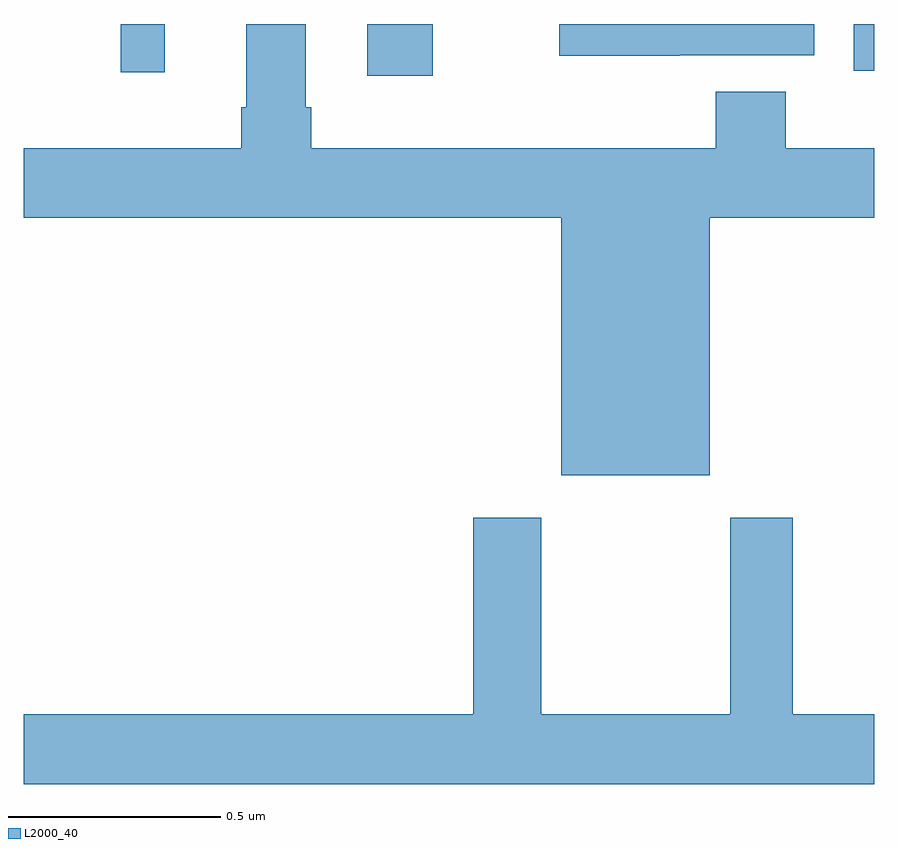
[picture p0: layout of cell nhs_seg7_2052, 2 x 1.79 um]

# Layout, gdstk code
import gdstk
lib = gdstk.Library(unit=1e-6, precision=1e-09)
def R(c, l, rs):  # rectangles x0, y0, x1, y1
    for r in rs: c.add(gdstk.rectangle(r[:2], r[2:], *l))
def P(c, l, *ps):  # polygons
    for p in ps: c.add(gdstk.Polygon(p, *l))
L2000_40 = (2000, 40)

nhs_seg7_2052 = lib.new_cell('nhs_seg7_2052')
R(nhs_seg7_2052, L2000_40, [(139.808,1072.878,139.962,1073), (139.228,1072.887,139.331,1073), (140.952,1072.89,141,1073)])
P(nhs_seg7_2052, L2000_40, [(140.614,1072.544),(141,1072.544),(141,1072.708),(140.792,1072.708),(140.792,1072.841),(140.627,1072.841),(140.627,1072.708),(139.676,1072.708),(139.676,1072.804),(139.663,1072.804),(139.663,1073),(139.523,1073),(139.523,1072.804),(139.511,1072.804),(139.511,1072.708),(139,1072.708),(139,1072.544),(140.264,1072.544),(140.264,1071.938),(140.614,1071.938)],
  [(140.543,1072.926),(140.859,1072.926),(140.859,1073),(140.259,1073),(140.259,1072.925),(140.543,1072.925)],
  [(141,1071.376),(140.809,1071.376),(140.809,1071.838),(140.662,1071.838),(140.662,1071.376),(140.217,1071.376),(140.217,1071.838),(140.057,1071.838),(140.057,1071.376),(139,1071.376),(139,1071.212),(141,1071.212)])

lib.write_gds('nhs_seg7_2052.gds')
